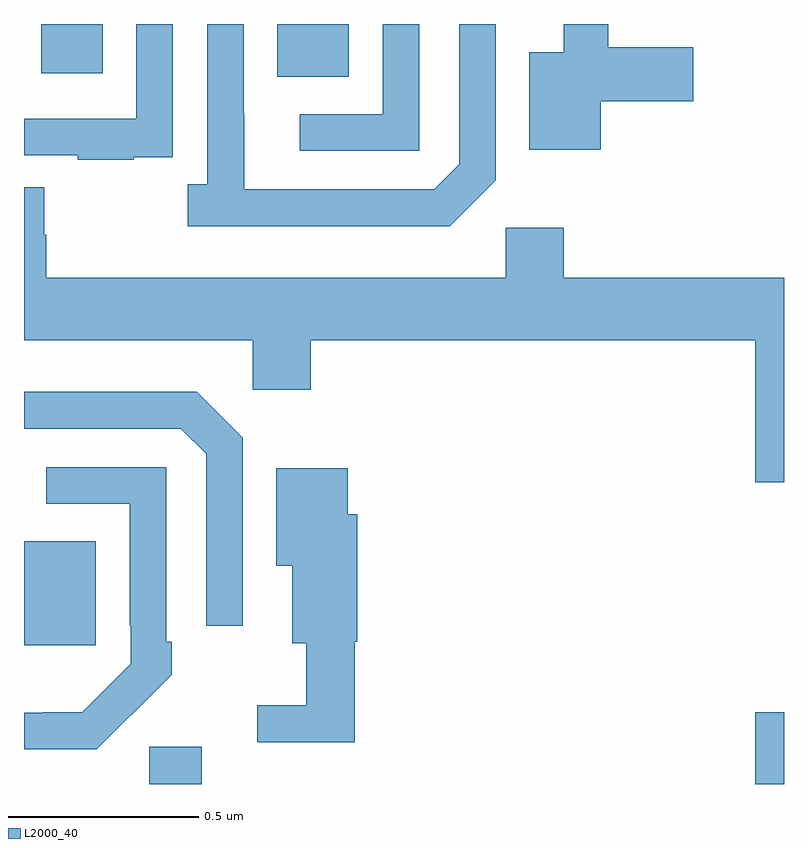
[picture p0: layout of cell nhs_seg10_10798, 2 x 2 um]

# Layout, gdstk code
import gdstk
lib = gdstk.Library(unit=1e-6, precision=1e-09)
def R(c, l, rs):  # rectangles x0, y0, x1, y1
    for r in rs: c.add(gdstk.rectangle(r[:2], r[2:], *l))
def P(c, l, *ps):  # polygons
    for p in ps: c.add(gdstk.Polygon(p, *l))
L2000_40 = (2000, 40)

nhs_seg10_10798 = lib.new_cell('nhs_seg10_10798')
R(nhs_seg10_10798, L2000_40, [(247.329,1280.5,247.468,1280.598), (248.924,1280.5,249,1280.689), (247.001,1280.865,247.189,1281.139), (247.667,1282.361,247.855,1282.5), (247.046,1282.371,247.207,1282.5)])
P(nhs_seg10_10798, L2000_40, [(248.04,1282.5),(247.944,1282.5),(247.944,1282.263),(247.725,1282.263),(247.725,1282.167),(248.04,1282.167)],
  [(247.289,1282.149),(247.391,1282.149),(247.391,1282.258),(247.392,1282.258),(247.392,1282.5),(247.296,1282.5),(247.296,1282.251),(247,1282.251),(247,1282.155),(247.141,1282.155),(247.141,1282.143),(247.289,1282.143)],
  [(248.241,1282.089),(248.241,1282.5),(248.145,1282.5),(248.145,1282.131),(248.079,1282.065),(247.579,1282.065),(247.579,1282.265),(247.578,1282.265),(247.578,1282.5),(247.482,1282.5),(247.482,1282.078),(247.431,1282.078),(247.431,1281.968),(248.12,1281.968)],
  [(248.518,1282.297),(248.761,1282.297),(248.761,1282.439),(248.537,1282.439),(248.537,1282.5),(248.42,1282.5),(248.42,1282.426),(248.33,1282.426),(248.33,1282.169),(248.518,1282.169)],
  [(249,1281.832),(248.42,1281.832),(248.42,1281.964),(248.268,1281.964),(248.268,1281.832),(247.058,1281.832),(247.058,1281.945),(247.053,1281.945),(247.053,1282.07),(247,1282.07),(247,1281.668),(247.602,1281.668),(247.602,1281.537),(247.754,1281.537),(247.754,1281.668),(248.924,1281.668),(248.924,1281.294),(249,1281.294)],
  [(247.575,1281.411),(247.454,1281.532),(247,1281.532),(247,1281.435),(247.413,1281.435),(247.479,1281.369),(247.479,1280.916),(247.575,1280.916)],
  [(247.283,1280.683),(247.284,1280.682),(247.389,1280.787),(247.389,1280.875),(247.374,1280.875),(247.374,1281.333),(247.059,1281.333),(247.059,1281.237),(247.278,1281.237),(247.278,1280.917),(247.281,1280.917),(247.281,1280.817),(247.153,1280.689),(247.049,1280.689),(247.049,1280.688),(247,1280.688),(247,1280.592),(247.192,1280.592)],
  [(247.871,1280.874),(247.877,1280.874),(247.877,1281.21),(247.852,1281.21),(247.852,1281.331),(247.664,1281.331),(247.664,1281.074),(247.706,1281.074),(247.706,1280.87),(247.743,1280.87),(247.743,1280.707),(247.614,1280.707),(247.614,1280.61),(247.871,1280.61)])

lib.write_gds('nhs_seg10_10798.gds')
